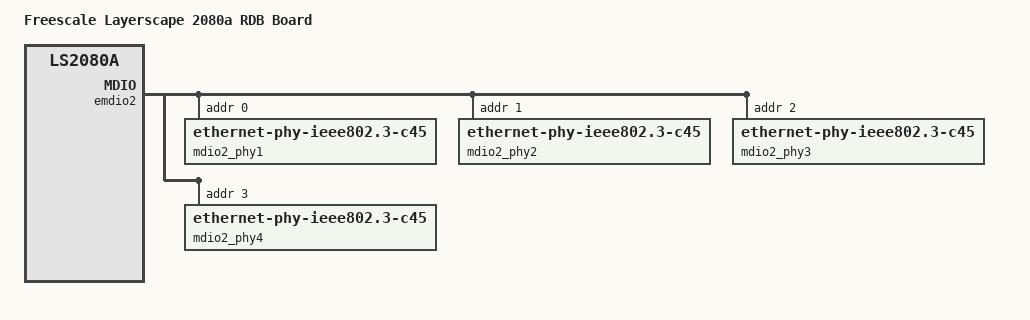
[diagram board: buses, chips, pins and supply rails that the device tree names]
/*
 * Device Tree file for Freescale LS2080a RDB Board.
 *
 * Copyright 2016 Freescale Semiconductor, Inc.
 * Copyright 2017 NXP
 *
 * Abhimanyu Saini <abhimanyu.saini@nxp.com>
 * Bhupesh Sharma <bhupesh.sharma@freescale.com>
 *
 * This file is dual-licensed: you can use it either under the terms
 * of the GPLv2 or the X11 license, at your option. Note that this dual
 * licensing only applies to this file, and not this project as a
 * whole.
 *
 *  a) This library is free software; you can redistribute it and/or
 *     modify it under the terms of the GNU General Public License as
 *     published by the Free Software Foundation; either version 2 of the
 *     License, or (at your option) any later version.
 *
 *     This library is distributed in the hope that it will be useful,
 *     but WITHOUT ANY WARRANTY; without even the implied warranty of
 *     MERCHANTABILITY or FITNESS FOR A PARTICULAR PURPOSE.  See the
 *     GNU General Public License for more details.
 *
 * Or, alternatively,
 *
 *  b) Permission is hereby granted, free of charge, to any person
 *     obtaining a copy of this software and associated documentation
 *     files (the "Software"), to deal in the Software without
 *     restriction, including without limitation the rights to use,
 *     copy, modify, merge, publish, distribute, sublicense, and/or
 *     sell copies of the Software, and to permit persons to whom the
 *     Software is furnished to do so, subject to the following
 *     conditions:
 *
 *     The above copyright notice and this permission notice shall be
 *     included in all copies or substantial portions of the Software.
 *
 *     THE SOFTWARE IS PROVIDED "AS IS", WITHOUT WARRANTY OF ANY KIND,
 *     EXPRESS OR IMPLIED, INCLUDING BUT NOT LIMITED TO THE WARRANTIES
 *     OF MERCHANTABILITY, FITNESS FOR A PARTICULAR PURPOSE AND
 *     NONINFRINGEMENT. IN NO EVENT SHALL THE AUTHORS OR COPYRIGHT
 *     HOLDERS BE LIABLE FOR ANY CLAIM, DAMAGES OR OTHER LIABILITY,
 *     WHETHER IN AN ACTION OF CONTRACT, TORT OR OTHERWISE, ARISING
 *     FROM, OUT OF OR IN CONNECTION WITH THE SOFTWARE OR THE USE OR
 *     OTHER DEALINGS IN THE SOFTWARE.
 */

/dts-v1/;

#include "fsl-ls2080a.dtsi"
#include "fsl-ls208xa-rdb.dtsi"

/ {
	model = "Freescale Layerscape 2080a RDB Board";
	compatible = "fsl,ls2080a-rdb", "fsl,ls2080a";

	chosen {
		stdout-path = "serial1:115200n8";
	};
};

&emdio1 {
	status = "disabled";
	/* CS4340 PHYs */
	mdio1_phy1: emdio1_phy@1 {
		reg = <0x10>;
		phy-connection-type = "xfi";
	};
	mdio1_phy2: emdio1_phy@2 {
		reg = <0x11>;
		phy-connection-type = "xfi";
	};
	mdio1_phy3: emdio1_phy@3 {
		reg = <0x12>;
		phy-connection-type = "xfi";
	};
	mdio1_phy4: emdio1_phy@4 {
		reg = <0x13>;
		phy-connection-type = "xfi";
	};
};

&emdio2 {
	/* AQR405 PHYs */
	mdio2_phy1: emdio2_phy@1 {
		compatible = "ethernet-phy-ieee802.3-c45";
		interrupts = <0 1 0x4>; /* Level high type */
		reg = <0x0>;
		phy-connection-type = "xfi";
	};
	mdio2_phy2: emdio2_phy@2 {
		compatible = "ethernet-phy-ieee802.3-c45";
		interrupts = <0 2 0x4>; /* Level high type */
		reg = <0x1>;
		phy-connection-type = "xfi";
	};
	mdio2_phy3: emdio2_phy@3 {
		compatible = "ethernet-phy-ieee802.3-c45";
		interrupts = <0 4 0x4>; /* Level high type */
		reg = <0x2>;
		phy-connection-type = "xfi";
	};
	mdio2_phy4: emdio2_phy@4 {
		compatible = "ethernet-phy-ieee802.3-c45";
		interrupts = <0 5 0x4>; /* Level high type */
		reg = <0x3>;
		phy-connection-type = "xfi";
	};
};

/* Update DPMAC connections to external PHYs, under the assumption of
 * SerDes 0x2a_0x41. This is currently the only SerDes supported on the board.
 */
/* Leave Cortina nodes commented out until driver is integrated
 *&dpmac1 {
 *	phy-handle = <&mdio1_phy1>;
 *};
 *&dpmac2 {
 *	phy-handle = <&mdio1_phy2>;
 *};
 *&dpmac3 {
 *	phy-handle = <&mdio1_phy3>;
 *};
 *&dpmac4 {
 *	phy-handle = <&mdio1_phy4>;
 *};
 */

&dpmac5 {
	phy-handle = <&mdio2_phy1>;
};
&dpmac6 {
	phy-handle = <&mdio2_phy2>;
};
&dpmac7 {
	phy-handle = <&mdio2_phy3>;
};
&dpmac8 {
	phy-handle = <&mdio2_phy4>;
};
